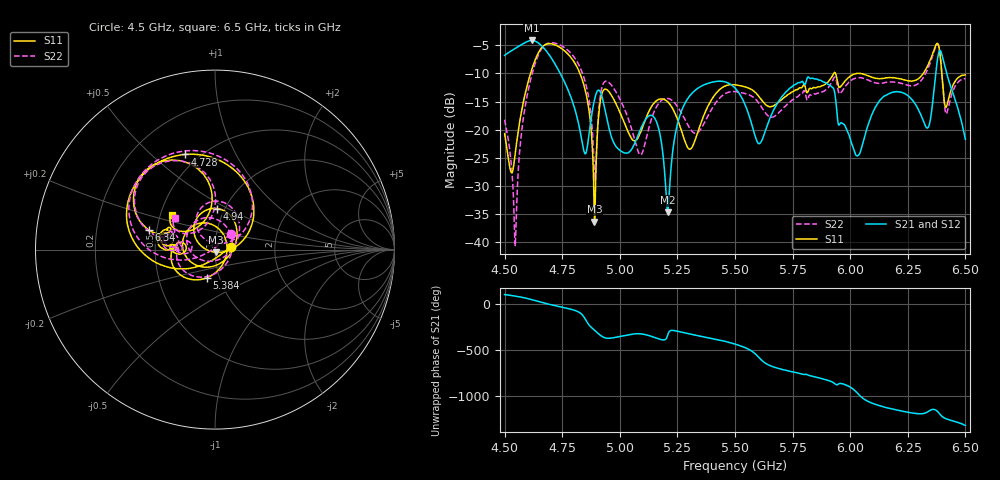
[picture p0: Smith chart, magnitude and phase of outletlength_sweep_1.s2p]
! TOUCHSTONE file generated by CST MICROWAVE STUDIO
! Date and time: Fri Nov 29 14:48:28 2024
! Project name: dual_circularly_polarized_waveguide_antenna.cst
! Parameters = {airCoaxOuterDiameter=3; chamferAngle=45; chamferWidth=24; connectorLength=10; drillingHoleDiameter=4.1; feedLength=60; flareDiameter=130; flareLength=70; gratingDistance=0; gratingGap=1.90274; outletLength=30; polarizerLength=134; probe1Diameter=1.3; probe1Distance=14.068; probe1Leng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
! Header version: 2018
! Port assignment regex: !\s*Touchstone port\s*([0-9]+)\s*=\s*(CST MWS port|CST DS port)\s*([0-9]+|Zmin|Zmax)\s*\(\"(.*)\"\)(\s*mode\s*([0-9]+))?.*
! Touchstone port assignment:
! Touchstone port 1 = CST MWS port 1 ("Input1")
! Touchstone port 2 = CST MWS port 2 ("Input2")
# GHz S MA R 50
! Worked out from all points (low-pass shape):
!   1001 points, 4.5 GHz to 6.5 GHz, reference 50 ohm
!   highest |S21| = -4.15 dB at 4.618 GHz (marker M1); lowest = -34.6 dB at 5.208 GHz (marker M2)
!   |S21| within 3 dB of the highest: start of sweep to 4.701 GHz; 6.380178 GHz to 6.401001 GHz (20.82 MHz wide, 0.326 % of centre)
!   lowest |S11| = -36.3 dB at 4.89 GHz (marker M3), VSWR 1.03, Z = 50.4 - j1.48 ohm
!   |S11| at or under -10 dB: start of sweep to 4.613 GHz; 4.827 GHz to 5.928 GHz (1.101 GHz wide, 20.5 % of centre); 6.038 GHz to 6.317 GHz (279.2 MHz wide, 4.52 % of centre)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
!   |S22| runs from -40.7 to -4.5 dB; largest |S21 - S12| = 0.0012
!   S11 on the Smith chart (normalised r, x): 4.5 GHz: 1.20, +0.03; 4.728 GHz: 0.42, +0.64; 4.94 GHz: 0.92, +0.44; 5.384 GHz: 0.87, -0.28; 6.34 GHz: 0.45, +0.11; 6.5 GHz: 0.57, +0.24
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4.5  0.09234 8.0  0.4572 109.1  0.4575 109.1  0.1227 44.7
4.546  0.06158 -104.2  0.5262 92.2  0.5265 92.2  0.009236 126.3
4.618  0.3438 -168.6  0.6204 52.8  0.6209 52.9  0.3059 -173.2
4.728  0.5563 107.6  0.3554 -17.8  0.3557 -17.8  0.5795 109.8
4.834  0.2897 41.8  0.08247 -105.4  0.08279 -105.4  0.3326 51.1
4.89  0.01525 -74.2  0.1843 78.1  0.1843 78.2  0.04089 53.7
4.94  0.229 87.6  0.1366 -8.1  0.1364 -8.2  0.27 88.1
5.014  0.123 19.1  0.06303 13.6  0.06309 13.8  0.1636 34.7
5.088  0.0927 -95.2  0.09873 38.6  0.09884 38.5  0.05987 -64.6
5.168  0.1853 166.7  0.1036 -16.4  0.1035 -16.4  0.1705 158.0
5.208  0.1768 128.0  0.01852 25.8  0.01866 25.5  0.1896 119.3
5.264  0.1032 67.7  0.14 58.9  0.1399 58.8  0.1449 66.0
5.384  0.1638 -106.4  0.2586 -4.6  0.2587 -4.6  0.1343 -90.4
5.5  0.2507 -166.4  0.2344 -74.3  0.2345 -74.2  0.2178 -166.1
5.606  0.195 168.0  0.07532 132.9  0.07516 132.9  0.1693 163.3
5.834  0.2318 179.4  0.2875 -65.9  0.2876 -66.0  0.2033 -180.0
6.03  0.3165 166.5  0.05858 111.7  0.05884 111.6  0.2898 167.3
6.168  0.2907 156.7  0.2089 -58.0  0.2086 -58.0  0.2658 157.0
6.34  0.3839 163.6  0.1061 -92.2  0.1055 -92.2  0.3599 165.8
6.392  0.4251 98.7  0.5025 -131.0  0.5018 -131.1  0.4304 97.5
6.418  0.1609 133.3  0.3193 -175.1  0.3196 -175.0  0.1383 127.6
6.5  0.3069 141.7  0.08221 113.1  0.08141 112.5  0.2835 142.0
